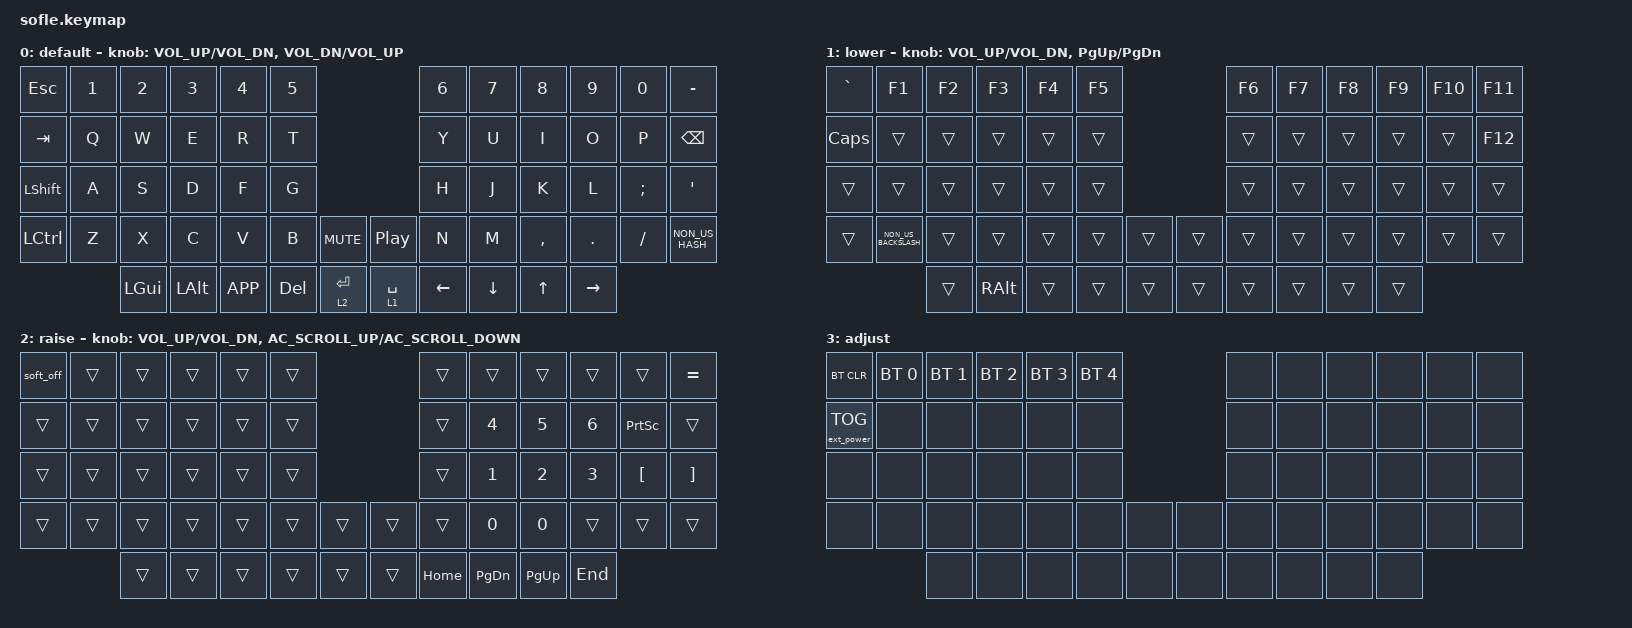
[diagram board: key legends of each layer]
/*
 * Copyright (c) 2020 The ZMK Contributors
 *
 * SPDX-License-Identifier: MIT
 */

#include <behaviors.dtsi>
#include <dt-bindings/zmk/bt.h>
#include <dt-bindings/zmk/ext_power.h>
#include <dt-bindings/zmk/keys.h>

#define BASE 0
#define LOWER 1
#define RAISE 2
#define ADJUST 3

/ {
    // Activate ADJUST layer by pressing raise and lower

    conditional_layers {
        compatible = "zmk,conditional-layers";

        adjust_layer {
            if-layers = <LOWER RAISE>;
            then-layer = <ADJUST>;
        };
    };

    keymap {
        compatible = "zmk,keymap";

        default_layer {
            display-name = "default";

            // ------------------------------------------------------------------------------------------------------------
            // |  ESC  |  1  |  2  |  3   |  4   |  5   |                   |  6   |  7    |  8    |  9   |   0   |       |
            // |  HASH |  Q  |  W  |  E   |  R   |  T   |                   |  Y   |  U    |  I    |  O   |   P   | BKSPC |
            // |  TAB  |  A  |  S  |  D   |  F   |  G   |                   |  H   |  J    |  K    |  L   |   ;   |   '   |
            // | SHIFT |  Z  |  X  |  C   |  V   |  B   |  MUTE  |  |       |  N   |  M    |  ,    |  .   |   /   | SHIFT |
            //               | GUI | ALT  | CTRL | LOWER|  ENTER |  | SPACE | RAISE| CTRL  | ALT   | GUI  |

            bindings = <
&kp ESC           &kp N1  &kp N2        &kp N3        &kp N4     &kp N5                                      &kp N6    &kp N7    &kp N8        &kp N9     &kp N0    &kp MINUS
&kp TAB           &kp Q   &kp W         &kp E         &kp R      &kp T                                       &kp Y     &kp U     &kp I         &kp O      &kp P     &kp BSPC
&kp LEFT_SHIFT    &kp A   &kp S         &kp D         &kp F      &kp G                                       &kp H     &kp J     &kp K         &kp L      &kp SEMI  &kp SQT
&kp LEFT_CONTROL  &kp Z   &kp X         &kp C         &kp V      &kp B       &kp C_MUTE    &kp C_PLAY_PAUSE  &kp N     &kp M     &kp COMMA     &kp DOT    &kp FSLH  &kp NON_US_HASH
                          &kp LEFT_GUI  &kp LEFT_ALT  &kp K_APP  &kp DELETE  &lt 2 RET     &lt 1 SPACE       &kp LEFT  &kp DOWN  &kp UP_ARROW  &kp RIGHT
            >;

            sensor-bindings =
                <&inc_dec_kp C_VOL_UP C_VOL_DN>,
                <&inc_dec_kp C_VOL_DN C_VOL_UP>;
        };

        lower_layer {
            display-name = "lower";

            // TODO: Some binds are waiting for shifted keycode support.
            // ------------------------------------------------------------------------------------------------------------
            // |       |  F1 |  F2 |  F3  |  F4  |  F5  |                   |  F6  |  F7   |  F8   |  F9  |  F10  |  F11  |
            // |   `   |  1  |  2  |  3   |  4   |  5   |                   |  6   |  7    |  8    |  9   |   0   |  F12  |
            // |       |  !  |  @  |  #   |  $   |  %   |                   |  ^   |  &    |  *    |  (   |   )   |   |   |
            // |       |  =  |  -  |  +   |  {   |  }   |        |  |       |  [   |  ]    |  ;    |  :   |   \   |       |
            //               |     |      |      |      |        |  |       |      |       |       |      |

            bindings = <
&kp GRAVE  &kp F1                &kp F2  &kp F3         &kp F4  &kp F5                    &kp F6  &kp F7  &kp F8  &kp F9  &kp F10  &kp F11
&kp CAPS   &trans                &trans  &trans         &trans  &trans                    &trans  &trans  &trans  &trans  &trans   &kp F12
&trans     &trans                &trans  &trans         &trans  &trans                    &trans  &trans  &trans  &trans  &trans   &trans
&trans     &kp NON_US_BACKSLASH  &trans  &trans         &trans  &trans  &trans    &trans  &trans  &trans  &trans  &trans  &trans   &trans
                                 &trans  &kp RIGHT_ALT  &trans  &trans  &trans    &trans  &trans  &trans  &trans  &trans
            >;

            sensor-bindings = <&inc_dec_kp C_VOL_UP C_VOL_DN &inc_dec_kp PG_UP PG_DN>;
        };

        raise_layer {
            display-name = "raise";

            // ------------------------------------------------------------------------------------------------------------
            // | BTCLR | BT1  | BT2  |  BT3  |  BT4  |  BT5 |                |      |      |       |      |       |       |
            // |       | INS  | PSCR | GUI   |       |      |                | PGUP |      |   ^   |      |       |       |
            // |       | ALT  | CTRL | SHIFT |       | CAPS |                | PGDN |   <- |   v   |  ->  |  DEL  | BKSPC |
            // |       | UNDO | CUT  | COPY  | PASTE |      |      |  |      |      |      |       |      |       |       |
            //                |      |       |       |      |      |  |      |      |      |       |      |

            bindings = <
&soft_off  &trans  &trans  &trans  &trans  &trans                    &trans    &trans         &trans        &trans        &trans            &kp EQUAL
&trans     &trans  &trans  &trans  &trans  &trans                    &trans    &kp NUMBER_4   &kp N5        &kp NUMBER_6  &kp PRINTSCREEN   &trans
&trans     &trans  &trans  &trans  &trans  &trans                    &trans    &kp NUMBER_1   &kp NUMBER_2  &kp NUMBER_3  &kp LEFT_BRACKET  &kp RIGHT_BRACKET
&trans     &trans  &trans  &trans  &trans  &trans  &trans    &trans  &trans    &kp N0         &kp N0        &trans        &trans            &trans
                   &trans  &trans  &trans  &trans  &trans    &trans  &kp HOME  &kp PAGE_DOWN  &kp PAGE_UP   &kp END
            >;

            sensor-bindings =
                <&inc_dec_kp C_VOL_UP C_VOL_DN>,
                <&inc_dec_kp C_AC_SCROLL_UP C_AC_SCROLL_DOWN>;
        };

        adjust_layer {
            // ----------------------------------------------------------------------------------------------------------------------------
            // | BTCLR  |  BT1    |  BT2    |   BT3   |   BT4   |   BT5   |                  |      |      |       |      |       |       |
            // | EXTPWR | RGB_HUD | RGB_HUI | RGB_SAD | RGB_SAI | RGB_EFF |                  |      |      |       |      |       |       |
            // |        | RGB_BRD | RGB_BRI |         |         |         |                  |      |      |       |      |       |       |
            // |        |         |         |         |         |         | RGB_TOG | |      |      |      |       |      |       |       |
            //                    |         |         |         |         |         | |      |      |      |       |      |

            display-name = "adjust";
            bindings = <
&bt BT_CLR         &bt BT_SEL 0  &bt BT_SEL 1  &bt BT_SEL 2  &bt BT_SEL 3  &bt BT_SEL 4                  &none  &none  &none  &none  &none  &none
&ext_power EP_TOG  &none         &none         &none         &none         &none                         &none  &none  &none  &none  &none  &none
&none              &none         &none         &none         &none         &none                         &none  &none  &none  &none  &none  &none
&none              &none         &none         &none         &none         &none         &none    &none  &none  &none  &none  &none  &none  &none
                                 &none         &none         &none         &none         &none    &none  &none  &none  &none  &none
            >;
        };
    };
};
